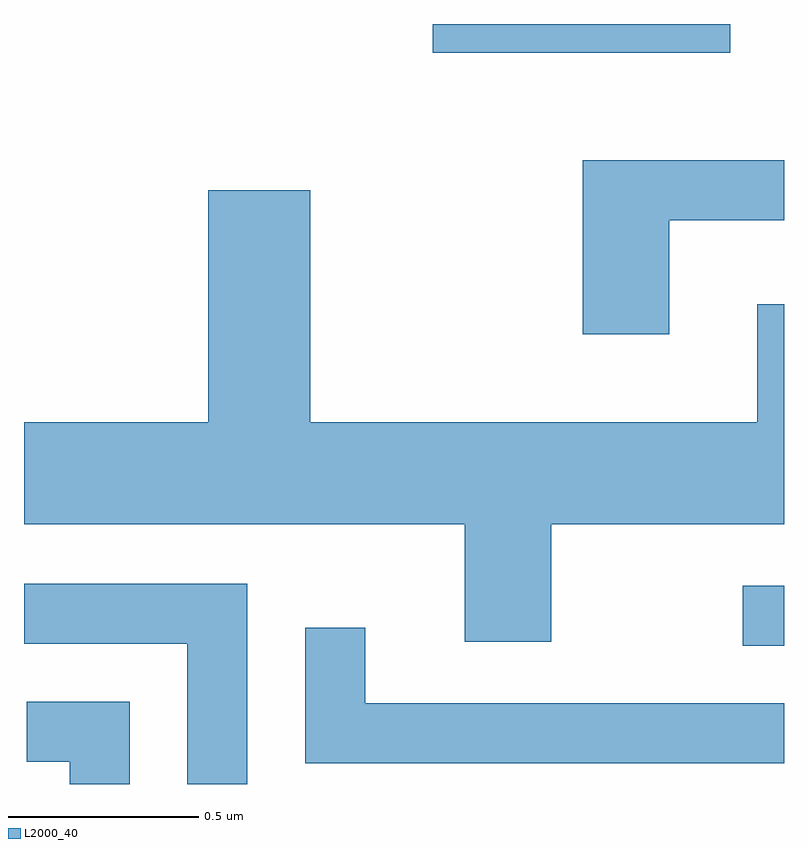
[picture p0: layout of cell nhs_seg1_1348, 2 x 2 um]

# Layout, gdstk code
import gdstk
lib = gdstk.Library(unit=1e-6, precision=1e-09)
def R(c, l, rs):  # rectangles x0, y0, x1, y1
    for r in rs: c.add(gdstk.rectangle(r[:2], r[2:], *l))
def P(c, l, *ps):  # polygons
    for p in ps: c.add(gdstk.Polygon(p, *l))
L2000_40 = (2000, 40)

nhs_seg1_1348 = lib.new_cell('nhs_seg1_1348')
R(nhs_seg1_1348, L2000_40, [(196.503,968.076,196.611,968.234), (195.686,969.636,196.469,969.712)])
P(nhs_seg1_1348, L2000_40, [(196.309,969.196),(196.611,969.196),(196.611,969.354),(196.081,969.354),(196.081,968.896),(196.309,968.896)],
  [(195.999,968.396),(196.611,968.396),(196.611,968.974),(196.541,968.974),(196.541,968.664),(195.364,968.664),(195.364,969.274),(195.096,969.274),(195.096,968.664),(194.611,968.664),(194.611,968.396),(195.771,968.396),(195.771,968.086),(195.999,968.086)],
  [(195.199,968.239),(194.611,968.239),(194.611,968.081),(195.041,968.081),(195.041,967.712),(195.199,967.712)],
  [(196.611,967.924),(195.509,967.924),(195.509,968.123),(195.351,968.123),(195.351,967.766),(196.611,967.766)],
  [(194.889,967.929),(194.618,967.929),(194.618,967.771),(194.731,967.771),(194.731,967.712),(194.889,967.712)])

lib.write_gds('nhs_seg1_1348.gds')
